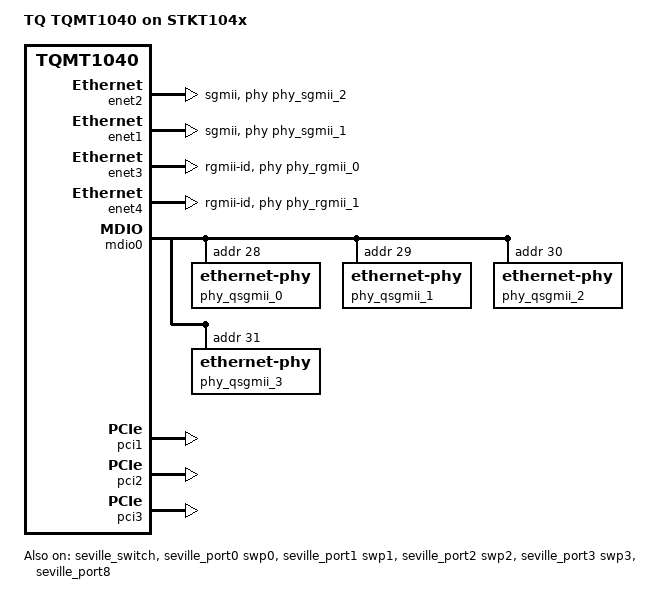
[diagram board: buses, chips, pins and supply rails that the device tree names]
// SPDX-License-Identifier: GPL-2.0-or-later
/*
 * TQMT1040 on STKT104x with serdes configuration 0x66 Device Tree Source
 *
 * Copyright (c) 2016-2023 TQ-Systems GmbH <license@tq-group.com>, D-82229 Seefeld, Germany.
 * Copyright 2014 Freescale Semiconductor Inc.
 * Author: Stefan Lange, Max Merchel, Gregor Herburger
 *
 */

#include "t104xsi-pre.dtsi"

#include "tqmt10xx.dtsi"
#include "stkt104x.dtsi"

/ {
	model = "TQ TQMT1040 on STKT104x";
	compatible = "tq,tqmt1040-stkt104x", "tq,tqmt1040";
};

#include "t1040si-post.dtsi"

&enet0 {
	fixed-link = <0 1 1000 0 0>;
};

&enet2 {
	fixed-link = <1 1 1000 0 0>;
};

&enet1 {
	phy-handle = <&phy_sgmii_1>;
	phy-connection-type = "sgmii";
};

&enet2 {
	phy-handle = <&phy_sgmii_2>;
	phy-connection-type = "sgmii";
};

&enet3 {
	phy-handle = <&phy_rgmii_0>;
	phy-connection-type = "rgmii-id";
};

&enet4 {
	phy-handle = <&phy_rgmii_1>;
	phy-connection-type = "rgmii-id";
};

&mdio0 {
	phy_sgmii_0 {
		status = "disabled";
	};
	phy_sgmii_2 {
		status = "disabled";
	};
	phy_qsgmii_0: ethernet-phy@1C {
		reg = <0x1C>;
		interrupts = <9 1 0 0>;
	};
	phy_qsgmii_1: ethernet-phy@1D {
		reg = <0x1D>;
		interrupts = <9 1 0 0>;
	};
	phy_qsgmii_2: ethernet-phy@1E {
		reg = <0x1E>;
		interrupts = <9 1 0 0>;
	};
	phy_qsgmii_3: ethernet-phy@1F {
		reg = <0x1F>;
		interrupts = <9 1 0 0>;
	};
};

&seville_switch {
	status = "okay";
};

&seville_port0 {
	managed = "in-band-status";
	phy-handle = <&phy_qsgmii_0>;
	phy-mode = "qsgmii";
	label = "swp0";
	status = "okay";
};

&seville_port1 {
	managed = "in-band-status";
	phy-handle = <&phy_qsgmii_1>;
	phy-mode = "qsgmii";
	label = "swp1";
	status = "okay";
};

&seville_port2 {
	managed = "in-band-status";
	phy-handle = <&phy_qsgmii_2>;
	phy-mode = "qsgmii";
	label = "swp2";
	status = "okay";
};

&seville_port3 {
	managed = "in-band-status";
	phy-handle = <&phy_qsgmii_3>;
	phy-mode = "qsgmii";
	label = "swp3";
	status = "okay";
};

&seville_port8 {
	ethernet = <&enet0>;
	status = "okay";
};

&pci1 {
	status = "okay";
};

&pci2 {
	status = "okay";
};

&pci3 {
	status = "okay";
};
